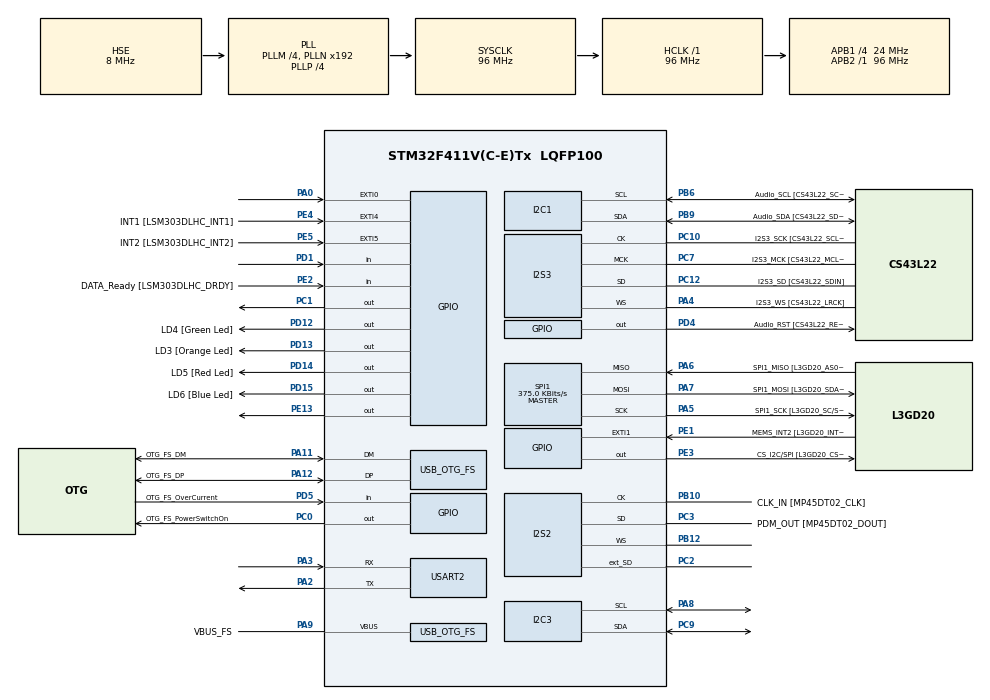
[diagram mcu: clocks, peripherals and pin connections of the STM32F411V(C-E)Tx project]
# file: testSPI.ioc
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I2S2.AudioFreq=I2S_AUDIOFREQ_96K
I2S2.ErrorAudioFreq=0.15 %
I2S2.FullDuplexMode=I2S_FULLDUPLEXMODE_ENABLE
I2S2.Instance=SPI$Index
I2S2.RealAudioFreq=96.153 KHz
I2S2.VirtualMode=I2S_MODE_MASTER
I2S3.AudioFreq=I2S_AUDIOFREQ_96K
I2S3.ErrorAudioFreq=-6.99 %
I2S3.FullDuplexMode=I2S_FULLDUPLEXMODE_DISABLE
I2S3.Instance=SPI$Index
I2S3.RealAudioFreq=89.285 KHz
I2S3.VirtualMode=I2S_MODE_MASTER
Mcu.Family=STM32F4
Mcu.Name=STM32F411V(C-E)Tx
Mcu.Package=LQFP100
NVIC.OTG_FS_IRQn=true\:0\:0\:false\:false\:true\:true\:true
NVIC.PriorityGroup=NVIC_PRIORITYGROUP_0
PA0-WKUP.GPIO_ModeDefaultEXTI=GPIO_MODE_EVT_RISING
PA0-WKUP.Signal=GPXTI0
PA10.GPIO_Label=OTG_FS_ID
PA10.Signal=USB_OTG_FS_ID
PA11.GPIO_Label=OTG_FS_DM
PA11.Mode=Host_Only
PA11.Signal=USB_OTG_FS_DM
PA12.GPIO_Label=OTG_FS_DP
PA12.Mode=Host_Only
PA12.Signal=USB_OTG_FS_DP
PA13.GPIO_Label=SWDIO
PA13.Mode=Serial_Wire
PA13.Signal=SYS_JTMS-SWDIO
PA14.GPIO_Label=SWCLK
PA14.Mode=Serial_Wire
PA14.Signal=SYS_JTCK-SWCLK
PA2.Mode=Asynchronous
PA2.Signal=USART2_TX
PA3.Mode=Asynchronous
PA3.Signal=USART2_RX
PA4.GPIO_Label=I2S3_WS [CS43L22_LRCK]
PA4.GPIO_Mode=GPIO_MODE_AF_PP
PA4.GPIO_PuPd=GPIO_NOPULL
PA4.GPIO_Speed=GPIO_SPEED_FREQ_LOW
PA4.Mode=Half_Duplex_Master
PA4.Signal=I2S3_WS
PA5.GPIO_Label=SPI1_SCK [L3GD20_SC/SPC]
PA5.GPIO_PuPd=GPIO_PULLUP
PA5.GPIO_Speed=GPIO_SPEED_FREQ_HIGH
PA5.Mode=Full_Duplex_Master
PA5.Signal=SPI1_SCK
PA6.GPIO_Label=SPI1_MISO [L3GD20_AS0/SDO]
PA6.GPIO_PuPd=GPIO_PULLUP
PA6.GPIO_Speed=GPIO_SPEED_FREQ_HIGH
PA6.Mode=Full_Duplex_Master
PA6.Signal=SPI1_MISO
PA7.GPIO_Label=SPI1_MOSI [L3GD20_SDA/SDI/SDO]
PA7.GPIO_PuPd=GPIO_PULLUP
PA7.GPIO_Speed=GPIO_SPEED_FREQ_HIGH
PA7.Mode=Full_Duplex_Master
PA7.Signal=SPI1_MOSI
PA8.Mode=I2C
PA8.Signal=I2C3_SCL
PA9.GPIO_Label=VBUS_FS
PA9.Mode=Activate_VBUS
PA9.Signal=USB_OTG_FS_VBUS
PB10.GPIO_Label=CLK_IN [MP45DT02_CLK]
PB10.Mode=Full_Duplex_Master
PB10.Signal=I2S2_CK
PB12.Mode=Full_Duplex_Master
PB12.Signal=I2S2_WS
PB3.GPIO_Label=SWO
PB3.Signal=SYS_JTDO-SWO
PB6.GPIO_Label=Audio_SCL [CS43L22_SCL]
PB6.GPIO_Mode=GPIO_MODE_AF_OD
PB6.GPIO_Pu=GPIO_PULLUP
PB6.GPIO_PuPd=GPIO_NOPULL
PB6.GPIO_Speed=GPIO_SPEED_FREQ_LOW
PB6.Mode=I2C
PB6.Signal=I2C1_SCL
PB9.GPIO_Label=Audio_SDA [CS43L22_SDA]
PB9.GPIO_Mode=GPIO_MODE_AF_OD
PB9.GPIO_Pu=GPIO_PULLUP
PB9.GPIO_PuPd=GPIO_NOPULL
PB9.GPIO_Speed=GPIO_SPEED_FREQ_LOW
PB9.Mode=I2C
PB9.Signal=I2C1_SDA
PC0.GPIO_Label=OTG_FS_PowerSwitchOn
PC0.PinState=GPIO_PIN_SET
PC0.Signal=GPIO_Output
PC1.GPIO_Speed=GPIO_SPEED_FREQ_HIGH
PC1.Signal=GPIO_Output
PC10.GPIO_Label=I2S3_SCK [CS43L22_SCLK]
PC10.GPIO_Mode=GPIO_MODE_AF_PP
PC10.GPIO_PuPd=GPIO_NOPULL
PC10.GPIO_Speed=GPIO_SPEED_FREQ_LOW
PC10.Mode=Half_Duplex_Master
PC10.Signal=I2S3_CK
PC12.GPIO_Label=I2S3_SD [CS43L22_SDIN]
PC12.GPIO_Mode=GPIO_MODE_AF_PP
PC12.GPIO_PuPd=GPIO_NOPULL
PC12.GPIO_Speed=GPIO_SPEED_FREQ_LOW
PC12.Mode=Half_Duplex_Master
PC12.Signal=I2S3_SD
PC14-OSC32_IN.GPIO_Label=PC14-OSC32_IN
PC14-OSC32_IN.Signal=RCC_OSC32_IN
PC15-OSC32_OUT.GPIO_Label=PC15-OSC32_OUT
PC15-OSC32_OUT.Signal=RCC_OSC32_OUT
PC2.Mode=Full_Duplex_Master
PC2.Signal=I2S2_ext_SD
PC3.GPIO_Label=PDM_OUT [MP45DT02_DOUT]
PC3.Mode=Full_Duplex_Master
PC3.Signal=I2S2_SD
PC7.GPIO_Label=I2S3_MCK [CS43L22_MCLK]
PC7.GPIO_Mode=GPIO_MODE_AF_PP
PC7.GPIO_PuPd=GPIO_NOPULL
PC7.GPIO_Speed=GPIO_SPEED_FREQ_LOW
PC7.Mode=Master_Clock_Activated
PC7.Signal=I2S3_MCK
PC9.Mode=I2C
PC9.Signal=I2C3_SDA
PD1.GPIO_PuPd=GPIO_PULLDOWN
PD1.Signal=GPIO_Input
PD12.GPIO_Label=LD4 [Green Led]
PD12.GPIO_PuPd=GPIO_NOPULL
PD12.GPIO_Speed=GPIO_SPEED_FREQ_LOW
PD12.Signal=GPIO_Output
PD13.GPIO_Label=LD3 [Orange Led]
PD13.GPIO_PuPd=GPIO_NOPULL
PD13.GPIO_Speed=GPIO_SPEED_FREQ_LOW
PD13.Signal=GPIO_Output
PD14.GPIO_Label=LD5 [Red Led]
PD14.GPIO_PuPd=GPIO_NOPULL
PD14.GPIO_Speed=GPIO_SPEED_FREQ_LOW
PD14.Signal=GPIO_Output
PD15.GPIO_Label=LD6 [Blue Led]
PD15.GPIO_PuPd=GPIO_NOPULL
PD15.GPIO_Speed=GPIO_SPEED_FREQ_LOW
PD15.Signal=GPIO_Output
PD4.GPIO_Label=Audio_RST [CS43L22_RESET]
PD4.Signal=GPIO_Output
PD5.GPIO_Label=OTG_FS_OverCurrent
PD5.Signal=GPIO_Input
PE1.GPIO_Label=MEMS_INT2 [L3GD20_INT2]
PE1.GPIO_ModeDefaultEXTI=GPIO_MODE_EVT_RISING
PE1.Signal=GPXTI1
PE13.Signal=GPIO_Output
PE2.GPIO_Label=DATA_Ready [LSM303DLHC_DRDY]
PE2.Signal=GPIO_Input
PE3.GPIO_Label=CS_I2C/SPI [L3GD20_CS_I2C/SPI]
PE3.Signal=GPIO_Output
PE4.GPIO_Label=INT1 [LSM303DLHC_INT1]
PE4.GPIO_ModeDefaultEXTI=GPIO_MODE_EVT_RISING
PE4.Signal=GPXTI4
PE5.GPIO_Label=INT2 [LSM303DLHC_INT2]
PE5.GPIO_ModeDefaultEXTI=GPIO_MODE_EVT_RISING
PE5.Signal=GPXTI5
PH0\ -\ OSC_IN.GPIO_Label=PH0-OSC_IN
PH0\ -\ OSC_IN.Mode=HSE-External-Oscillator
PH0\ -\ OSC_IN.Signal=RCC_OSC_IN
PH1\ -\ OSC_OUT.GPIO_Label=PH1-OSC_OUT
PH1\ -\ OSC_OUT.Mode=HSE-External-Oscillator
PH1\ -\ OSC_OUT.Signal=RCC_OSC_OUT
ProjectManager.HeapSize=0x200
ProjectManager.StackSize=0x400
ProjectManager.TargetToolchain=STM32CubeIDE
RCC.48MHZClocksFreq_Value=48000000
RCC.AHBFreq_Value=96000000
RCC.APB1CLKDivider=RCC_HCLK_DIV4
RCC.APB1Freq_Value=24000000
RCC.APB1TimFreq_Value=48000000
RCC.APB2Freq_Value=96000000
RCC.APB2TimFreq_Value=96000000
RCC.CortexFreq_Value=96000000
RCC.HCLKFreq_Value=96000000
RCC.HSE_VALUE=8000000
RCC.HSI_VALUE=16000000
RCC.LSE_VALUE=32768
RCC.PLLI2SM=5
RCC.PLLI2SN=200
RCC.PLLM=4
RCC.PLLP=RCC_PLLP_DIV4
RCC.PLLQ=8
RCC.SYSCLKFreq_VALUE=96000000
RCC.SYSCLKSource=RCC_SYSCLKSOURCE_PLLCLK
RCC.VCOOutputFreq_Value=384000000
SPI1.BaudRatePrescaler=SPI_BAUDRATEPRESCALER_256
SPI1.CLKPhase=SPI_PHASE_2EDGE
SPI1.CLKPolarity=SPI_POLARITY_HIGH
SPI1.CalculateBaudRate=375.0 KBits/s
SPI1.Direction=SPI_DIRECTION_2LINES
SPI1.FirstBit=SPI_FIRSTBIT_LSB
SPI1.Mode=SPI_MODE_MASTER
SPI1.VirtualType=VM_MASTER
USART2.VirtualMode=VM_ASYNC
USB_HOST.BSP.number=1
USB_HOST.USBH_HandleTypeDef=hUsbHostFS
USB_HOST.VirtualModeFS=Cdc
USB_HOST0.BSP.STBoard=false
USB_HOST0.BSP.api=Unknown
USB_HOST0.BSP.i2caddr=0
USB_HOST0.BSP.i2creg=0
USB_HOST0.BSP.instance=PC0
USB_HOST0.BSP.ip=GPIO
USB_HOST0.BSP.mode=Output
USB_HOST0.BSP.name=Drive_VBUS_FS
USB_HOST0.BSP.solution=PC0
USB_OTG_FS.VirtualMode=Host_Only
USB_OTG_FS.phy_itface=HCD_PHY_EMBEDDED
VP_USB_HOST_VS_USB_HOST_CDC_FS.Mode=CDC_FS
board=STM32F411E-DISCO

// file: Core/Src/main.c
/* USER CODE BEGIN Header */
/**
  ******************************************************************************
  * @file           : main.c
  * @brief          : Main program body
  ******************************************************************************
  * @attention
  *
  * <h2><center>&copy; Copyright (c) 2022 STMicroelectronics.
  * All rights reserved.</center></h2>
  *
  * This software component is licensed by ST under Ultimate Liberty license
  * SLA0044, the "License"; You mAy not use this file except in compliance with
  * the License. You mAy obtain a copy of the License at:
  *                             www.st.com/SLA0044
  *
  ******************************************************************************
  */
/* USER CODE END Header */
#include "main.h"
#include "usb_host.h"

I2C_HandleTypeDef hi2c1;
I2C_HandleTypeDef hi2c3;

I2S_HandleTypeDef hi2s2;
I2S_HandleTypeDef hi2s3;

SPI_HandleTypeDef hspi1;

UART_HandleTypeDef huart2;

void SystemClock_Config(void);
void PeriphCommonClock_Config(void);
static void MX_GPIO_Init(void);
static void MX_I2C1_Init(void);
static void MX_I2S2_Init(void);
static void MX_I2S3_Init(void);
static void MX_SPI1_Init(void);
static void MX_USART2_UART_Init(void);
static void MX_I2C3_Init(void);
void MX_USB_HOST_Process(void);

/* USER CODE BEGIN 0 */

#define MPU6050_ADDR 0xD0

#define SMPLRT_DIV_REG 0x19
#define GyRO_CONFIG_REG 0x1B
#define ACCEL_CONFIG_REG 0x1C
#define ACCEL_XOUT_H_REG 0x3B
#define TEMP_OUT_H_REG 0x41
#define GyRO_XOUT_H_REG 0x43
#define PWR_MGMT_1_REG 0x6B
#define WHO_AM_I_REG 0x75

int numberOfTests = 1000;

int16_t Accel_X_RAW = 0;
int16_t Accel_Y_RAW = 0;
int16_t Accel_Z_RAW = 0;

int16_t Gyro_X_RAW = 0;
int16_t Gyro_Y_RAW = 0;
int16_t Gyro_Z_RAW = 0;

float   Axoff, Ayoff, Azoff; //accelerometer offset values
float   Gxoff, Gyoff, Gzoff; //Gyroscope offset values

float Ax, Ay, Az, Gx, Gy, Gz;
float M_PI = 3.14;

float   Roll,Pitch,Yaw;
float angle_Gx=0,angle_Gy=0,angle_Gz=0;
float angle_Ax=0,angle_Ay=0,angle_Az=0;
#define TIME_GyRO 2000

void MPU6050_Init (void)
{
	uint8_t check;
	uint8_t Data;

	// check device ID WHO_AM_I

	HAL_I2C_Mem_Read (&hi2c3, MPU6050_ADDR,WHO_AM_I_REG,1, &check, 1, 1000);

	if (check == 104)  // 0x68 will be returned by the sensor if everything goes well
	{
		// power management register 0X6B we should write all 0's to wake the sensor up
		Data = 0;
		HAL_I2C_Mem_Write(&hi2c3, MPU6050_ADDR, PWR_MGMT_1_REG, 1,&Data, 1, 1000);

		// Set DATA RATE of 1KHz by writing SMPLRT_DIV register
		Data = 0x07;
		HAL_I2C_Mem_Write(&hi2c3, MPU6050_ADDR, SMPLRT_DIV_REG, 1, &Data, 1, 1000);

		// Set accelerometer configuration in ACCEL_CONFIG Register
		// XA_ST=0,YA_ST=0,ZA_ST=0, FS_SEL=0 -> � 2g
		Data = 0x00;
		HAL_I2C_Mem_Write(&hi2c3, MPU6050_ADDR, ACCEL_CONFIG_REG, 1, &Data, 1, 1000);

		// Set Gyroscopic configuration in GyRO_CONFIG Register
		// XG_ST=0,YG_ST=0,ZG_ST=0, FS_SEL=0 -> � 250 �/s
		Data = 0x00;
		HAL_I2C_Mem_Write(&hi2c3, MPU6050_ADDR, GyRO_CONFIG_REG, 1, &Data, 1, 1000);
	}

}

void test_values(void)
{
	char buf[100];
     for(int i =0; i<numberOfTests; i++)
    {
     sprintf(buf, "Test Number: %d \n\r", i);
     HAL_UART_Transmit(&huart2,(uint8_t*)buf,sizeof(buf), 50);

     MPU6050_Read_Accel();
     MPU6050_Read_Gyro();

      Axoff += Accel_X_RAW;
      Ayoff += Accel_Y_RAW;
      Azoff += Accel_Z_RAW;
      Gxoff += Gyro_X_RAW;
      Gyoff += Gyro_Y_RAW;
      Gzoff += Gyro_Z_RAW;

      sprintf(buf, "Ax:%d, Ay:%d, Az:%d || Gx:%d, Gy:%d, Gz:%d,\t", Accel_X_RAW,Accel_Y_RAW,
    		  Accel_Z_RAW,Gyro_X_RAW,Gyro_Y_RAW,Gyro_Z_RAW);
      HAL_UART_Transmit(&huart2,(uint8_t*)buf,sizeof(buf), 50);
      HAL_UART_Transmit(&huart2,(uint8_t*)"\n\r",4, 50);
      HAL_Delay(25);
    }
    Axoff = Axoff/numberOfTests;
    Ayoff = Ayoff/numberOfTests;
    Azoff = Azoff/numberOfTests;
    Gxoff = Gxoff/numberOfTests;
    Gyoff = Gyoff/numberOfTests;
    Gzoff = Gzoff/numberOfTests;

    sprintf(buf, "\n\nTest finished, offset values are shown below\n\n\r");
    HAL_UART_Transmit(&huart2,(uint8_t*)buf, sizeof(buf), 50);
    sprintf(buf, "Axoff:%d, Ayoff:%d, Azoff:%d || Gxoff:%d, Gyoff:%d, Gzoff:%d,\t", (int)Axoff,(int)Ayoff,(int)Azoff,(int)Gxoff,(int)Gyoff,(int)Gzoff);
    HAL_UART_Transmit(&huart2,(uint8_t*)buf,sizeof(buf), 50);
}

void MPU6050_Read_Accel (void)
{
	uint8_t Rec_Data[6];

	// Read 6 BYTES of data starting from ACCEL_XOUT_H register

	HAL_I2C_Mem_Read (&hi2c3, MPU6050_ADDR, ACCEL_XOUT_H_REG, 1, Rec_Data, 6, 1000);

	Accel_X_RAW = (int16_t)(Rec_Data[0] << 8 | Rec_Data [1]);
	Accel_Y_RAW = (int16_t)(Rec_Data[2] << 8 | Rec_Data [3]);
	Accel_Z_RAW = (int16_t)(Rec_Data[4] << 8 | Rec_Data [5]);

	/*** convert the RAW values into acceleration in 'g'
	     we have to divide according to the Full scale value set in FS_SEL
	     I have configured FS_SEL = 0. So I am dividing by 16384.0
	     for more details check ACCEL_CONFIG Register              ****/

}

void MPU6050_Read_Gyro (void)
{
	uint8_t Rec_Data[6];

	// Read 6 BYTES of data starting from GyRO_XOUT_H register

	HAL_I2C_Mem_Read (&hi2c3, MPU6050_ADDR, GyRO_XOUT_H_REG, 1, Rec_Data, 6, 1000);

	Gyro_X_RAW = (int16_t)(Rec_Data[0] << 8 | Rec_Data [1]);
	Gyro_Y_RAW = (int16_t)(Rec_Data[2] << 8 | Rec_Data [3]);
	Gyro_Z_RAW = (int16_t)(Rec_Data[4] << 8 | Rec_Data [5]);

	/*** convert the RAW values into dps (�/s)
	     we have to divide according to the Full scale value set in FS_SEL
	     I have configured FS_SEL = 0. So I am dividing by 131.0
	     for more details check GyRO_CONFIG Register              ****/

}

/* USER CODE END 0 */

int main(void)
{
  /* USER CODE BEGIN 1 */

	char buf[16];

  /* USER CODE END 1 */

  /* MCU Configuration--------------------------------------------------------*/

  /* Reset of all peripherals, Initializes the Flash interface and the Systick. */
  HAL_Init();

  /* Configure the system clock */
  SystemClock_Config();

/* Configure the peripherals common clocks */
  PeriphCommonClock_Config();

  /* Initialize all configured peripherals */
  MX_GPIO_Init();
  MX_I2C1_Init();
  MX_I2S2_Init();
  MX_I2S3_Init();
  MX_SPI1_Init();
  MX_USB_HOST_Init();
  MX_USART2_UART_Init();
  MX_I2C3_Init();
  /* USER CODE BEGIN 2 */

  //lcd_init();

  MPU6050_Init();

  //lcd_send_string ("initialized");

  //HAL_Delay (1000);  // wait for 1 sec

  //lcd_clear ();

  //lcd_send_cmd (0x80|0x5A);
  //lcd_send_string ("MPU6050");

  test_values();

  /* USER CODE END 2 */

  /* Infinite loop */
  while (1)
  {
    MX_USB_HOST_Process();

    /* USER CODE BEGIN 3 */

    /*if(HAL_GPIO_ReadPin(GPIOC,GPIO_PIN_1)==GPIO_PIN_SET)
    {
    	HAL_GPIO_WritePin(GPIOD,GPIO_PIN_13, GPIO_PIN_SET);
    }
    else
    {
    	HAL_GPIO_WritePin(GPIOD,GPIO_PIN_13,GPIO_PIN_RESET);
      }*/
	  // read the Accelerometer and Gyro values

	  MPU6050_Read_Accel();
	  MPU6050_Read_Gyro();

	  Ax = (Accel_X_RAW - Axoff)/16384.0;
	  Ay = (Accel_Y_RAW - Ayoff)/16384.0;
      Az = (Accel_Z_RAW-(Azoff-16384))/16384.0;

  	  Gx = (Gyro_X_RAW - Gxoff)/131.0;
  	  Gy = (Gyro_Y_RAW - Gyoff)/131.0;
  	  Gz = (Gyro_Z_RAW - Gzoff)/131.0;

	  /*sprintf (buf, "Ax:%.2f | ", Ax);
	  //HAL_UART_Transmit(&huart2,"Hello",5, 10);
	  for( int i=0;i<sizeof(buf); i++)
		  HAL_UART_Transmit(&huart2,(uint8_t*)&buf[i],1, 50);

	  sprintf (buf, "Ay:%.2f | ", Ay);
	  for( int i=0;i<sizeof(buf); i++)
	  		  HAL_UART_Transmit(&huart2,(uint8_t*)&buf[i],1, 50);

	  sprintf (buf, "Az:%.2f ||| ", Az);
	  for( int i=0;i<sizeof(buf); i++)
	  		  HAL_UART_Transmit(&huart2,(uint8_t*)&buf[i],1, 50);*/

	  /*sprintf (buf, "Gx:%.2f | ", Gx);
	  HAL_UART_Transmit(&huart2,(uint8_t*)buf,sizeof(buf), 50);

	  sprintf (buf, "Gy:%.2f | ", Gy);
	  HAL_UART_Transmit(&huart2,(uint8_t*)buf,sizeof(buf), 50);

	  sprintf (buf, "Gz:%.2f \n\r", Gz);
	  HAL_UART_Transmit(&huart2,(uint8_t*)buf,sizeof(buf), 50);*/

	  //converting to angles
	  float FK = 0.9;
	  Roll  = atan2f(Ay, Az) * 180/M_PI;
	  Pitch = atan2f(Ax, sqrt(Ay*Ay + Az*Az)) * 180/M_PI;

	  angle_Ax = atan2(Ay,Az)*180/M_PI;
	  angle_Ay = atan2(Ax,Az)*180/M_PI;
	  angle_Az = atan2(Ay,Ax)*180/M_PI;

	  angle_Gx = angle_Gx + Gx*TIME_GyRO/1000000.0;
	  angle_Gy = angle_Gy + Gy*TIME_GyRO/1000000.0;
	  angle_Gz = angle_Gz + Gz*TIME_GyRO/1000000.0;

	  //Комплементарний фільтр
	  angle_Ax = angle_Ax*FK + angle_Gx *(1-FK);
	  angle_Ay = angle_Ay*FK + angle_Gy *(1-FK);
	  angle_Az = angle_Az*FK + angle_Gz *(1-FK);

	  sprintf (buf, "angle_Ax:%.2f | ", angle_Ax);
	  	  HAL_UART_Transmit(&huart2,(uint8_t*)buf,sizeof(buf), 50);

	  	  sprintf (buf, "angle_Ay:%.2f | ", angle_Ay);
	  	  HAL_UART_Transmit(&huart2,(uint8_t*)buf,sizeof(buf), 50);

	  	  sprintf (buf, "angle_Az:%.2f \n\r", angle_Az);
	  	  HAL_UART_Transmit(&huart2,(uint8_t*)buf,sizeof(buf), 50);

	  float control_num = 40;//control angle
	      if(angle_Ax>=control_num)//if(Roll>=control_num)
	      {
	          //Right
	    	  HAL_UART_Transmit(&huart2,(uint8_t*)"\r\n\nRight\n\n\r",18, 50);

	          HAL_Delay(500);
	      }
	      else if(angle_Ax<=-control_num)//else if(Roll<=-control_num)
	      {
	          //Left
	    	  HAL_UART_Transmit(&huart2,(uint8_t*)"\r\n\nLeft\n\n\r",18, 50);

	          HAL_Delay(500);
	      }
	      else if(angle_Ay>=control_num)//else if(Pitch>=control_num)
	      {
	          //Down
	    	  HAL_UART_Transmit(&huart2,(uint8_t*)"\r\n\nDown\n\n\r",18, 50);
	          HAL_Delay(500);
	      }
	      else if(angle_Ay<=-control_num)//else if(Pitch<=-control_num)
	      {
	          //Up
	    	  HAL_UART_Transmit(&huart2,(uint8_t*)"\r\n\nUp\n\n\r",18, 50);
	          HAL_Delay(500);
	      }

	  HAL_Delay (250);  // wait for a while
  }
  /* USER CODE END 3 */
}

void SystemClock_Config(void)
{
  RCC_OscInitTypeDef RCC_OscInitStruct = {0};
  RCC_ClkInitTypeDef RCC_ClkInitStruct = {0};

  /** Configure the main internal regulator output voltage
  */
  __HAL_RCC_PWR_CLK_ENABLE();
  __HAL_PWR_VOLTAGESCALING_CONFIG(PWR_REGULATOR_VOLTAGE_SCALE1);
  /** Initializes the RCC Oscillators according to the specified parameters
  * in the RCC_OscInitTypeDef structure.
  */
  RCC_OscInitStruct.OscillatorType = RCC_OSCILLATORTYPE_HSE;
  RCC_OscInitStruct.HSEState = RCC_HSE_ON;
  RCC_OscInitStruct.PLL.PLLState = RCC_PLL_ON;
  RCC_OscInitStruct.PLL.PLLSource = RCC_PLLSOURCE_HSE;
  RCC_OscInitStruct.PLL.PLLM = 4;
  RCC_OscInitStruct.PLL.PLLN = 192;
  RCC_OscInitStruct.PLL.PLLP = RCC_PLLP_DIV4;
  RCC_OscInitStruct.PLL.PLLQ = 8;
  if (HAL_RCC_OscConfig(&RCC_OscInitStruct) != HAL_OK)
  {
    Error_Handler();
  }
  /** Initializes the CPU, AHB and APB buses clocks
  */
  RCC_ClkInitStruct.ClockType = RCC_CLOCKTYPE_HCLK|RCC_CLOCKTYPE_SYSCLK
                              |RCC_CLOCKTYPE_PCLK1|RCC_CLOCKTYPE_PCLK2;
  RCC_ClkInitStruct.SYSCLKSource = RCC_SYSCLKSOURCE_PLLCLK;
  RCC_ClkInitStruct.AHBCLKDivider = RCC_SYSCLK_DIV1;
  RCC_ClkInitStruct.APB1CLKDivider = RCC_HCLK_DIV4;
  RCC_ClkInitStruct.APB2CLKDivider = RCC_HCLK_DIV1;

  if (HAL_RCC_ClockConfig(&RCC_ClkInitStruct, FLASH_LATENCY_3) != HAL_OK)
  {
    Error_Handler();
  }
}

void PeriphCommonClock_Config(void)
{
  RCC_PeriphCLKInitTypeDef PeriphClkInitStruct = {0};

  /** Initializes the peripherals clock
  */
  PeriphClkInitStruct.PeriphClockSelection = RCC_PERIPHCLK_I2S;
  PeriphClkInitStruct.PLLI2S.PLLI2SN = 200;
  PeriphClkInitStruct.PLLI2S.PLLI2SM = 5;
  PeriphClkInitStruct.PLLI2S.PLLI2SR = 2;
  if (HAL_RCCEx_PeriphCLKConfig(&PeriphClkInitStruct) != HAL_OK)
  {
    Error_Handler();
  }
}

static void MX_I2C1_Init(void)
{

  hi2c1.Instance = I2C1;
  hi2c1.Init.ClockSpeed = 100000;
  hi2c1.Init.DutyCycle = I2C_DUTYCYCLE_2;
  hi2c1.Init.OwnAddress1 = 0;
  hi2c1.Init.AddressingMode = I2C_ADDRESSINGMODE_7BIT;
  hi2c1.Init.DualAddressMode = I2C_DUALADDRESS_DISABLE;
  hi2c1.Init.OwnAddress2 = 0;
  hi2c1.Init.GeneralCallMode = I2C_GENERALCALL_DISABLE;
  hi2c1.Init.NoStretchMode = I2C_NOSTRETCH_DISABLE;
  if (HAL_I2C_Init(&hi2c1) != HAL_OK)
  {
    Error_Handler();
  }

}

static void MX_I2C3_Init(void)
{

  hi2c3.Instance = I2C3;
  hi2c3.Init.ClockSpeed = 100000;
  hi2c3.Init.DutyCycle = I2C_DUTYCYCLE_2;
  hi2c3.Init.OwnAddress1 = 0;
  hi2c3.Init.AddressingMode = I2C_ADDRESSINGMODE_7BIT;
  hi2c3.Init.DualAddressMode = I2C_DUALADDRESS_DISABLE;
  hi2c3.Init.OwnAddress2 = 0;
  hi2c3.Init.GeneralCallMode = I2C_GENERALCALL_DISABLE;
  hi2c3.Init.NoStretchMode = I2C_NOSTRETCH_DISABLE;
  if (HAL_I2C_Init(&hi2c3) != HAL_OK)
  {
    Error_Handler();
  }

}

static void MX_I2S2_Init(void)
{

  hi2s2.Instance = SPI2;
  hi2s2.Init.Mode = I2S_MODE_MASTER_TX;
  hi2s2.Init.Standard = I2S_STANDARD_PHILIPS;
  hi2s2.Init.DataFormat = I2S_DATAFORMAT_16B;
  hi2s2.Init.MCLKOutput = I2S_MCLKOUTPUT_DISABLE;
  hi2s2.Init.AudioFreq = I2S_AUDIOFREQ_96K;
  hi2s2.Init.CPOL = I2S_CPOL_LOW;
  hi2s2.Init.ClockSource = I2S_CLOCK_PLL;
  hi2s2.Init.FullDuplexMode = I2S_FULLDUPLEXMODE_ENABLE;
  if (HAL_I2S_Init(&hi2s2) != HAL_OK)
  {
    Error_Handler();
  }

}

static void MX_I2S3_Init(void)
{

  hi2s3.Instance = SPI3;
  hi2s3.Init.Mode = I2S_MODE_MASTER_TX;
  hi2s3.Init.Standard = I2S_STANDARD_PHILIPS;
  hi2s3.Init.DataFormat = I2S_DATAFORMAT_16B;
  hi2s3.Init.MCLKOutput = I2S_MCLKOUTPUT_ENABLE;
  hi2s3.Init.AudioFreq = I2S_AUDIOFREQ_96K;
  hi2s3.Init.CPOL = I2S_CPOL_LOW;
  hi2s3.Init.ClockSource = I2S_CLOCK_PLL;
  hi2s3.Init.FullDuplexMode = I2S_FULLDUPLEXMODE_DISABLE;
  if (HAL_I2S_Init(&hi2s3) != HAL_OK)
  {
    Error_Handler();
  }

}

static void MX_SPI1_Init(void)
{

  /* SPI1 parameter configuration*/
  hspi1.Instance = SPI1;
  hspi1.Init.Mode = SPI_MODE_MASTER;
  hspi1.Init.Direction = SPI_DIRECTION_2LINES;
  hspi1.Init.DataSize = SPI_DATASIZE_8BIT;
  hspi1.Init.CLKPolarity = SPI_POLARITY_HIGH;
  hspi1.Init.CLKPhase = SPI_PHASE_2EDGE;
  hspi1.Init.NSS = SPI_NSS_SOFT;
  hspi1.Init.BaudRatePrescaler = SPI_BAUDRATEPRESCALER_256;
  hspi1.Init.FirstBit = SPI_FIRSTBIT_LSB;
  hspi1.Init.TIMode = SPI_TIMODE_DISABLE;
  hspi1.Init.CRCCalculation = SPI_CRCCALCULATION_DISABLE;
  hspi1.Init.CRCPolynomial = 10;
  if (HAL_SPI_Init(&hspi1) != HAL_OK)
  {
    Error_Handler();
  }

}

static void MX_USART2_UART_Init(void)
{

  huart2.Instance = USART2;
  huart2.Init.BaudRate = 115200;
  huart2.Init.WordLength = UART_WORDLENGTH_8B;
  huart2.Init.StopBits = UART_STOPBITS_1;
  huart2.Init.Parity = UART_PARITY_NONE;
  huart2.Init.Mode = UART_MODE_TX_RX;
  huart2.Init.HwFlowCtl = UART_HWCONTROL_NONE;
  huart2.Init.OverSampling = UART_OVERSAMPLING_16;
  if (HAL_UART_Init(&huart2) != HAL_OK)
  {
    Error_Handler();
  }

}

static void MX_GPIO_Init(void)
{
  GPIO_InitTypeDef GPIO_InitStruct = {0};

  /* GPIO Ports Clock Enable */
  __HAL_RCC_GPIOE_CLK_ENABLE();
  __HAL_RCC_GPIOC_CLK_ENABLE();
  __HAL_RCC_GPIOH_CLK_ENABLE();
  __HAL_RCC_GPIOA_CLK_ENABLE();
  __HAL_RCC_GPIOB_CLK_ENABLE();
  __HAL_RCC_GPIOD_CLK_ENABLE();

  /*Configure GPIO pin Output Level */
  HAL_GPIO_WritePin(GPIOE, CS_I2C_SPI_Pin|GPIO_PIN_13, GPIO_PIN_RESET);

  /*Configure GPIO pin Output Level */
  HAL_GPIO_WritePin(OTG_FS_PowerSwitchOn_GPIO_Port, OTG_FS_PowerSwitchOn_Pin, GPIO_PIN_SET);

  /*Configure GPIO pin Output Level */
  HAL_GPIO_WritePin(GPIOC, GPIO_PIN_1, GPIO_PIN_RESET);

  /*Configure GPIO pin Output Level */
  HAL_GPIO_WritePin(GPIOD, LD4_Pin|LD3_Pin|LD5_Pin|LD6_Pin
                          |Audio_RST_Pin, GPIO_PIN_RESET);

  /*Configure GPIO pin : DATA_Ready_Pin */
  GPIO_InitStruct.Pin = DATA_Ready_Pin;
  GPIO_InitStruct.Mode = GPIO_MODE_INPUT;
  GPIO_InitStruct.Pull = GPIO_NOPULL;
  HAL_GPIO_Init(DATA_Ready_GPIO_Port, &GPIO_InitStruct);

  /*Configure GPIO pins : CS_I2C_SPI_Pin PE13 */
  GPIO_InitStruct.Pin = CS_I2C_SPI_Pin|GPIO_PIN_13;
  GPIO_InitStruct.Mode = GPIO_MODE_OUTPUT_PP;
  GPIO_InitStruct.Pull = GPIO_NOPULL;
  GPIO_InitStruct.Speed = GPIO_SPEED_FREQ_LOW;
  HAL_GPIO_Init(GPIOE, &GPIO_InitStruct);

  /*Configure GPIO pins : INT1_Pin INT2_Pin MEMS_INT2_Pin */
  GPIO_InitStruct.Pin = INT1_Pin|INT2_Pin|MEMS_INT2_Pin;
  GPIO_InitStruct.Mode = GPIO_MODE_EVT_RISING;
  GPIO_InitStruct.Pull = GPIO_NOPULL;
  HAL_GPIO_Init(GPIOE, &GPIO_InitStruct);

  /*Configure GPIO pin : OTG_FS_PowerSwitchOn_Pin */
  GPIO_InitStruct.Pin = OTG_FS_PowerSwitchOn_Pin;
  GPIO_InitStruct.Mode = GPIO_MODE_OUTPUT_PP;
  GPIO_InitStruct.Pull = GPIO_NOPULL;
  GPIO_InitStruct.Speed = GPIO_SPEED_FREQ_LOW;
  HAL_GPIO_Init(OTG_FS_PowerSwitchOn_GPIO_Port, &GPIO_InitStruct);

  /*Configure GPIO pin : PC1 */
  GPIO_InitStruct.Pin = GPIO_PIN_1;
  GPIO_InitStruct.Mode = GPIO_MODE_OUTPUT_PP;
  GPIO_InitStruct.Pull = GPIO_NOPULL;
  GPIO_InitStruct.Speed = GPIO_SPEED_FREQ_HIGH;
  HAL_GPIO_Init(GPIOC, &GPIO_InitStruct);

  /*Configure GPIO pin : PA0 */
  GPIO_InitStruct.Pin = GPIO_PIN_0;
  GPIO_InitStruct.Mode = GPIO_MODE_EVT_RISING;
  GPIO_InitStruct.Pull = GPIO_NOPULL;
  HAL_GPIO_Init(GPIOA, &GPIO_InitStruct);

  /*Configure GPIO pins : LD4_Pin LD3_Pin LD5_Pin LD6_Pin
                           Audio_RST_Pin */
  GPIO_InitStruct.Pin = LD4_Pin|LD3_Pin|LD5_Pin|LD6_Pin
                          |Audio_RST_Pin;
  GPIO_InitStruct.Mode = GPIO_MODE_OUTPUT_PP;
  GPIO_InitStruct.Pull = GPIO_NOPULL;
  GPIO_InitStruct.Speed = GPIO_SPEED_FREQ_LOW;
  HAL_GPIO_Init(GPIOD, &GPIO_InitStruct);

  /*Configure GPIO pin : PD1 */
  GPIO_InitStruct.Pin = GPIO_PIN_1;
  GPIO_InitStruct.Mode = GPIO_MODE_INPUT;
  GPIO_InitStruct.Pull = GPIO_PULLDOWN;
  HAL_GPIO_Init(GPIOD, &GPIO_InitStruct);

  /*Configure GPIO pin : OTG_FS_OverCurrent_Pin */
  GPIO_InitStruct.Pin = OTG_FS_OverCurrent_Pin;
  GPIO_InitStruct.Mode = GPIO_MODE_INPUT;
  GPIO_InitStruct.Pull = GPIO_NOPULL;
  HAL_GPIO_Init(OTG_FS_OverCurrent_GPIO_Port, &GPIO_InitStruct);

}

void Error_Handler(void)
{
  __disable_irq();
  while (1)
  {
  }
}

/************************ (C) COPYRIGHT STMicroelectronics *****END OF FILE****/
